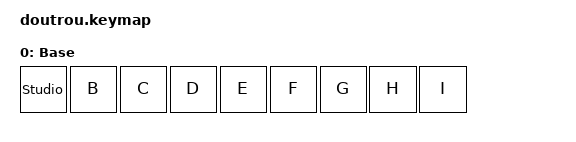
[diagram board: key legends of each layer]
#include <behaviors.dtsi>
#include <dt-bindings/zmk/keys.h>

/ {
    keymap {
        compatible = "zmk,keymap";

        default_layer {
            display-name = "Base";
            bindings = <
                &studio_unlock &kp B &kp C &kp D &kp E &kp F &kp G &kp H &kp I
            >;
        };
    };
};
